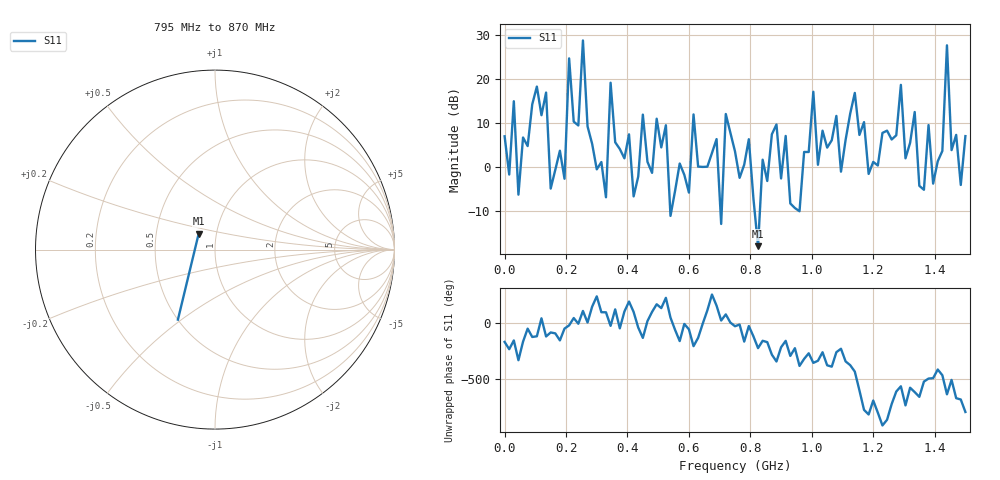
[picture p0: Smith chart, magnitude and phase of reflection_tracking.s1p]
! Created with skrf 1.8.0 (http://scikit-rf.org).
# Hz S RI R 50.0
!freq ReS11 ImS11
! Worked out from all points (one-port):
!   101 points, 50 kHz to 1.5 GHz, reference 50 ohm
!   lowest |S11| = -17.9 dB at 825 MHz (marker M1), VSWR 1.29, Z = 41.1 + j7.46 ohm
!   |S11| at or under -10 dB: 539.3 MHz to 542.7 MHz (3.462 MHz wide, 0.64 % of centre); 702.8 MHz to 706.7 MHz (3.949 MHz wide, 0.56 % of centre); 814 MHz to 831.1 MHz (17.02 MHz wide, 2.07 % of centre)
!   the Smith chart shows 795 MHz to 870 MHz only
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50000  -2.199 -0.4508
1.050465e8  -3.759 -7.312
1.20046e8  2.713 2.793
1.350455e8  -3.409 -6.156
1.950435e8  0.4988 -0.5478
2.10043e8  16.3 -5.43
2.250425e8  2.198 2.45
2.40042e8  2.974 -0.1871
2.550415e8  -10.4 25.39
2.70041e8  2.886 0.3688
3.30039e8  -0.0796 0.4496
3.450385e8  8.385 -3.535
3.60038e8  -1.153 1.537
3.750375e8  1.127 -1.151
5.70031e8  -1.041 -0.364
7.50025e8  1.357 -0.6694
8.250225e8  -0.0908 0.0893
9.450185e8  -0.2429 0.2447
1.005016e9  7.181 0.2182
1.035016e9  -0.361 2.575
1.125012e9  3.836 -1.32
1.260008e9  2.023 -0.4173
1.290007e9  -7.403 4.378
1.320006e9  -1.372 1.301
1.425002e9  -0.5341 -1.436
1.440002e9  5.649 23.49
1.455002e9  -1.389 -0.7227
1.5e9  0.2562 -2.241
